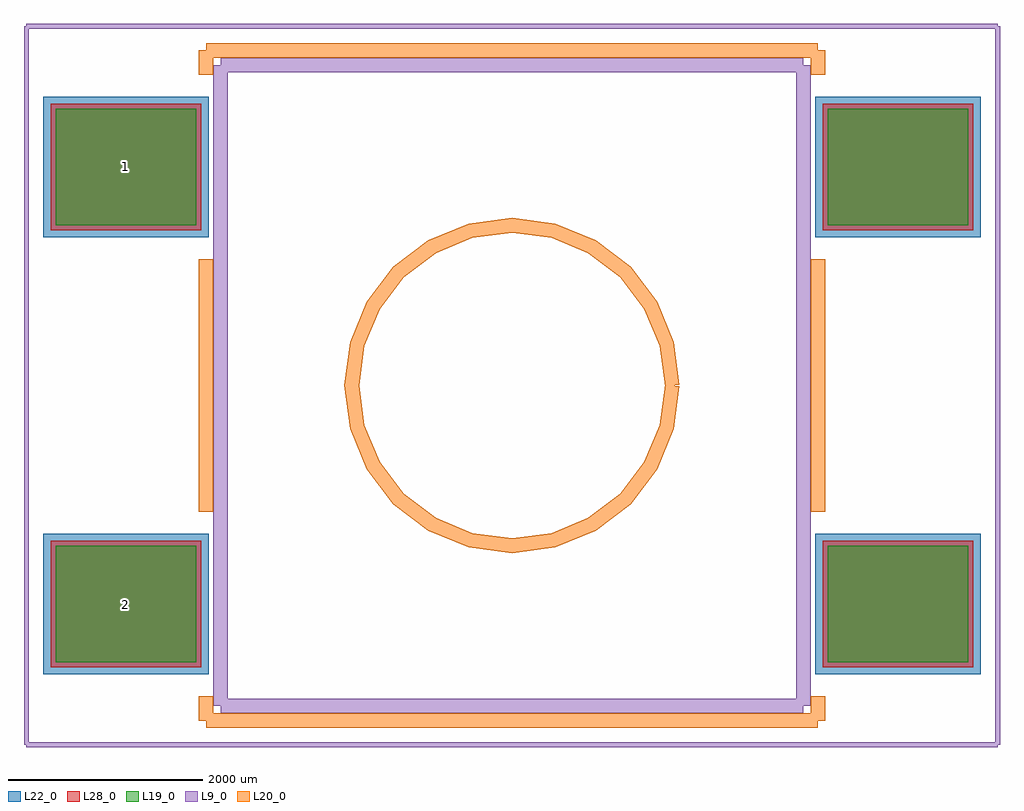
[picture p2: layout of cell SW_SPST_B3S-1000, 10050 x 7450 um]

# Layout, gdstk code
import gdstk
lib = gdstk.Library(unit=1e-6, precision=1e-09)
def R(c, l, rs):  # rectangles x0, y0, x1, y1
    for r in rs: c.add(gdstk.rectangle(r[:2], r[2:], *l))
L9_0 = (9, 0)
L19_0 = (19, 0)
L20_0 = (20, 0)
L22_0 = (22, 0)
L28_0 = (28, 0)

sw_spst_b3s_1000 = lib.new_cell('SW_SPST_B3S-1000')
R(sw_spst_b3s_1000, L19_0, [(-4700,-2850,-3250,-1650), (3250,-2850,4700,-1650), (-4700,1650,-3250,2850), (3250,1650,4700,2850)])
R(sw_spst_b3s_1000, L22_0, [(-4825,-2975,-3125,-1525), (3125,-2975,4825,-1525), (-4825,1525,-3125,2975), (3125,1525,4825,2975)])
R(sw_spst_b3s_1000, L28_0, [(-4750,-2900,-3200,-1600), (3200,-2900,4750,-1600), (-4750,1600,-3200,2900), (3200,1600,4750,2900)])
sw_spst_b3s_1000.add(gdstk.FlexPath([(-3000,-3300),(-3000,3300)], 149.998, ends="flush", simple_path=True, layer=9, datatype=0))  # L9_0
sw_spst_b3s_1000.add(gdstk.FlexPath([(3000,-3300),(-3000,-3300)], 149.998, ends="flush", simple_path=True, layer=9, datatype=0))  # L9_0
sw_spst_b3s_1000.add(gdstk.FlexPath([(3000,3300),(3000,-3300)], 149.998, ends="flush", simple_path=True, layer=9, datatype=0))  # L9_0
sw_spst_b3s_1000.add(gdstk.FlexPath([(-3000,3300),(3000,3300)], 149.998, ends="flush", simple_path=True, layer=9, datatype=0))  # L9_0
sw_spst_b3s_1000.add(gdstk.FlexPath([(1650,0),(1593.778,427.051),(1428.942,825),(1166.726,1166.726),(825,1428.942),(427.051,1593.778),(0,1650),(-427.051,1593.778),(-825,1428.942),(-1166.726,1166.726),(-1428.942,825),(-1593.778,427.051),(-1650,0),(-1593.778,-427.051),(-1428.942,-825),(-1166.726,-1166.726),(-825,-1428.942),(-427.051,-1593.778),(0,-1650),(427.051,-1593.778),(825,-1428.942),(1166.726,-1166.726),(1428.942,-825),(1593.778,-427.051),(1650,0)], 149.998, ends="flush", simple_path=True, layer=20, datatype=0))  # L20_0
sw_spst_b3s_1000.add(gdstk.FlexPath([(3150,1300),(3150,-1300)], 149.998, ends="flush", simple_path=True, layer=20, datatype=0))  # L20_0
sw_spst_b3s_1000.add(gdstk.FlexPath([(-3150,-3450),(-3150,-3200)], 149.998, ends="flush", simple_path=True, layer=20, datatype=0))  # L20_0
sw_spst_b3s_1000.add(gdstk.FlexPath([(3150,-3450),(-3150,-3450)], 149.998, ends="flush", simple_path=True, layer=20, datatype=0))  # L20_0
sw_spst_b3s_1000.add(gdstk.FlexPath([(3150,-3200),(3150,-3450)], 149.998, ends="flush", simple_path=True, layer=20, datatype=0))  # L20_0
sw_spst_b3s_1000.add(gdstk.FlexPath([(-3150,-1300),(-3150,1300)], 149.998, ends="flush", simple_path=True, layer=20, datatype=0))  # L20_0
sw_spst_b3s_1000.add(gdstk.FlexPath([(3150,3450),(3150,3200)], 149.998, ends="flush", simple_path=True, layer=20, datatype=0))  # L20_0
sw_spst_b3s_1000.add(gdstk.FlexPath([(-3150,3450),(3150,3450)], 149.998, ends="flush", simple_path=True, layer=20, datatype=0))  # L20_0
sw_spst_b3s_1000.add(gdstk.FlexPath([(-3150,3200),(-3150,3450)], 149.998, ends="flush", simple_path=True, layer=20, datatype=0))  # L20_0
sw_spst_b3s_1000.add(gdstk.FlexPath([(-5000,3700),(-5000,-3700)], 50, ends="flush", simple_path=True, layer=9, datatype=0))  # L9_0
sw_spst_b3s_1000.add(gdstk.FlexPath([(5000,3700),(-5000,3700)], 50, ends="flush", simple_path=True, layer=9, datatype=0))  # L9_0
sw_spst_b3s_1000.add(gdstk.FlexPath([(5000,-3700),(5000,3700)], 50, ends="flush", simple_path=True, layer=9, datatype=0))  # L9_0
sw_spst_b3s_1000.add(gdstk.FlexPath([(-5000,-3700),(5000,-3700)], 50, ends="flush", simple_path=True, layer=9, datatype=0))  # L9_0
sw_spst_b3s_1000.add(gdstk.Label('2', (-3975,-2250), layer=28, texttype=0))
sw_spst_b3s_1000.add(gdstk.Label('1', (-3975,2250), layer=28, texttype=0))
sw_spst_b3s_1000.add(gdstk.Label('type', (0,-4500), layer=9, texttype=0))
sw_spst_b3s_1000.add(gdstk.Label('devicename', (0,4500), layer=9, texttype=0))

lib.write_gds('SW_SPST_B3S-1000.gds')
